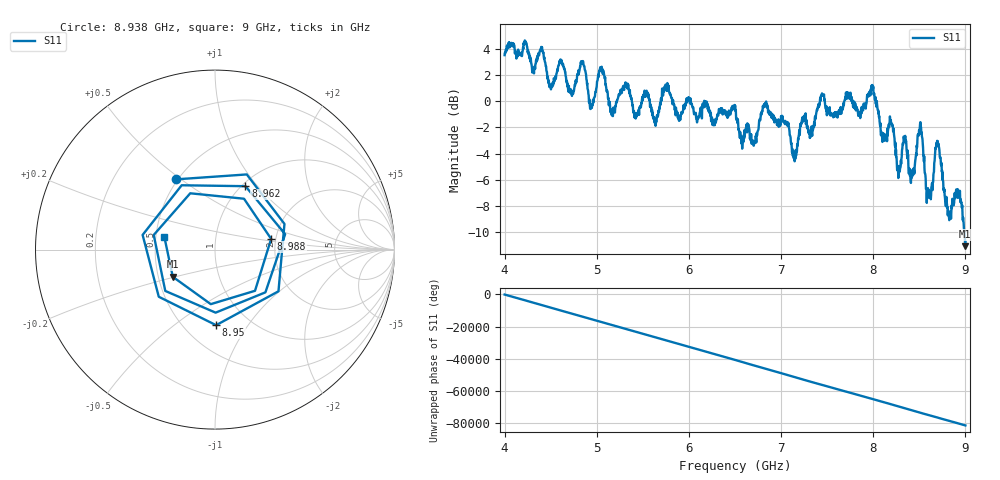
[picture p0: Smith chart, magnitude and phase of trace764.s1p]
! Created with skrf 1.8.0 (http://scikit-rf.org).
# Hz S RI R 50.0
!freq ReS11 ImS11
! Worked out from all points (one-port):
!   1601 points, 4 GHz to 9 GHz, reference 50 ohm
!   lowest |S11| = -11.1 dB at 8.997 GHz (marker M1), VSWR 1.78, Z = 29.8 - j9.79 ohm
!   |S11| at or under -10 dB: 8.991721 GHz to end of sweep
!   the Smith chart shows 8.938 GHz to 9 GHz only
!   S11 on the Smith chart (normalised r, x): 8.938 GHz: 0.49, +0.48; 8.95 GHz: 0.71, -0.72; 8.962 GHz: 1.04, +0.87; 8.988 GHz: 1.89, +0.25; 9 GHz: 0.56, +0.09
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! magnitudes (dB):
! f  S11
! 4 GHz  3.5
! 4.625 GHz  2.9
! 4.728 GHz  0.5
! 4.85 GHz  3.1
! 4.941 GHz  -0.5
! 5.047 GHz  2.3
! 5.172 GHz  -0.9
! 5.25 GHz  0.5
! 5.875 GHz  -0.9
! 6.5 GHz  -0.3
! 6.706 GHz  -3.3
! 6.831 GHz  -0.1
! 7.125 GHz  -3.7
! 7.441 GHz  0.4
! 7.75 GHz  0.4
! 7.988 GHz  1.2
! 8.275 GHz  -5.8
! 8.375 GHz  -4.4
! 8.509 GHz  -1.7
! 8.6 GHz  -7.3
! 8.697 GHz  -3.3
! 8.822 GHz  -8.8
! 8.938 GHz  -7.0
! 8.95 GHz  -7.5
! 8.962 GHz  -8.1
! 8.988 GHz  -9.9
! 8.997 GHz  -11.1
! 9 GHz  -10.7
